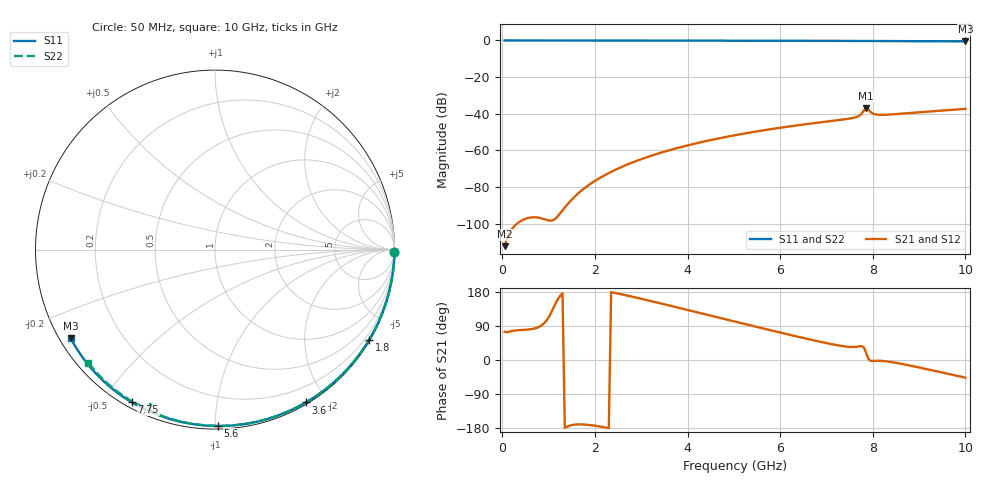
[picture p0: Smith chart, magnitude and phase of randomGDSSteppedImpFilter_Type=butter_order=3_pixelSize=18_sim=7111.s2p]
! freq	dB(S11)	phase(S11)	dB(S12)	phase(S12)
!  dB(S21)	phase(S21)	dB(S22)	phase(S22)
!S-par simulation data
#  GHz  S  DB  R 50
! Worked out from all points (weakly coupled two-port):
!   200 points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, 50 MHz to 10 GHz, reference 50 ohm
!   highest |S21| = -36.89 dB at 7.85 GHz (marker M1); lowest = -112.4 dB at 50 MHz (marker M2)
!   lowest |S11| = -0.5 dB at 10 GHz (marker M3), VSWR 34.58, Z = 1.56 - j14.1 ohm
!   |S11| at or under -10 dB: nowhere
!   |S22| runs from -0.6 to 0.0 dB; largest |S21 - S12| = 0
!   S11 on the Smith chart (normalised r, x): 50 MHz: open; 1.8 GHz: 0.03, -3.69; 3.6 GHz: 0.02, -1.76; 5.6 GHz: 0.02, -1.02; 7.75 GHz: 0.02, -0.59; 10 GHz: 0.03, -0.28
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0.05  -0.00 -0.9  -112.38 74.7  -112.38 74.7  -0.00 -0.8
0.9  -0.02 -15.3  -97.58 96.6  -97.58 96.6  -0.02 -14.3
1.75  -0.04 -29.5  -81.20 -170.2  -81.20 -170.2  -0.04 -27.6
1.8  -0.04 -30.4  -80.22 -170.6  -80.22 -170.6  -0.04 -28.4
2.15  -0.05 -36.1  -74.48 -176.3  -74.48 -176.3  -0.04 -33.8
2.5  -0.05 -41.8  -69.98 175.3  -69.98 175.3  -0.05 -39.1
2.9  -0.06 -48.2  -65.79 164.4  -65.79 164.4  -0.06 -45.1
3.4  -0.07 -56.1  -61.51 149.9  -61.51 149.9  -0.07 -52.5
3.6  -0.08 -59.2  -60.02 144.0  -60.02 144.0  -0.07 -55.5
4.3  -0.10 -69.9  -55.53 123.1  -55.53 123.1  -0.09 -65.5
5.05  -0.12 -81.0  -51.65 100.5  -51.65 100.5  -0.12 -76.0
5.6  -0.15 -89.0  -49.25 84.2  -49.25 84.2  -0.14 -83.4
6.7  -0.20 -104.4  -45.27 52.5  -45.27 52.5  -0.19 -97.9
7.55  -0.26 -115.9  -42.45 34.3  -42.45 34.3  -0.25 -109.0
7.65  -0.27 -117.2  -41.80 34.9  -41.80 34.9  -0.27 -110.5
7.75  -0.28 -118.5  -40.25 36.7  -40.25 36.7  -0.34 -112.1
7.85  -0.28 -119.8  -36.89 21.1  -36.89 21.1  -0.61 -112.8
7.9  -0.28 -120.5  -37.54 3.6  -37.54 3.6  -0.54 -112.0
8  -0.29 -121.9  -39.91 -2.6  -39.91 -2.6  -0.35 -113.3
8.05  -0.30 -122.6  -40.35 -2.2  -40.35 -2.2  -0.33 -114.0
8.35  -0.32 -126.6  -40.49 -4.5  -40.49 -4.5  -0.32 -118.1
10  -0.50 -148.5  -37.38 -46.6  -37.38 -46.6  -0.47 -138.3
